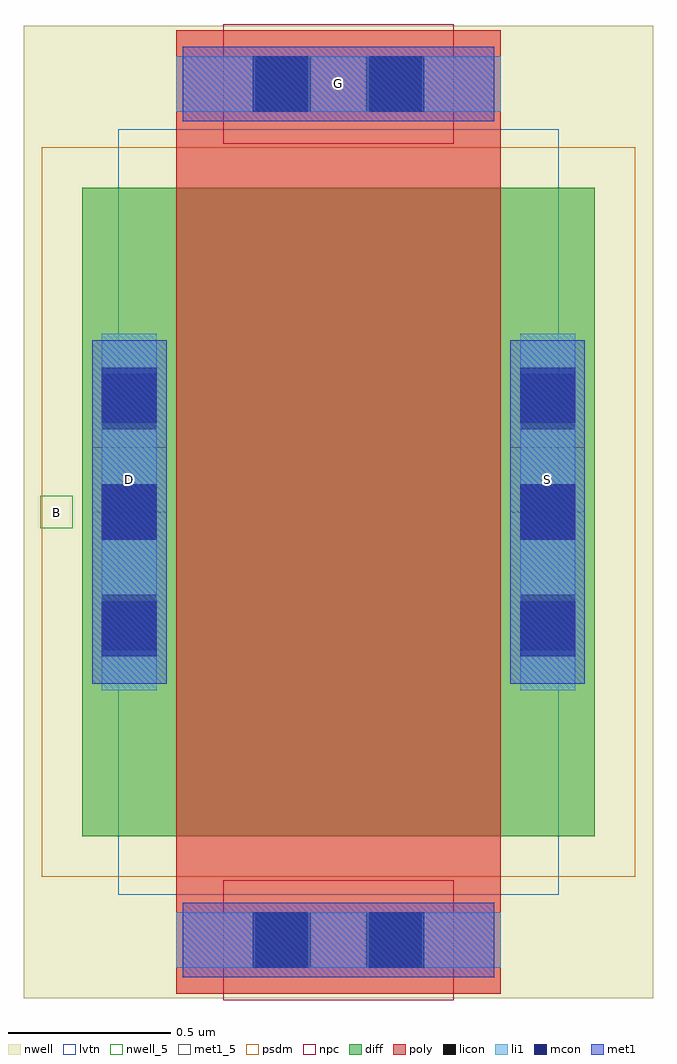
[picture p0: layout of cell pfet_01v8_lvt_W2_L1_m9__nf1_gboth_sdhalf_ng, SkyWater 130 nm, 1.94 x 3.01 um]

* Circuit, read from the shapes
.subckt pfet_01v8_lvt_W2_L1_m9__nf1_gboth_sdhalf_ng B D G S
XM1 S G D B sky130_fd_pr__pfet_01v8_lvt w=2 l=1
.ends

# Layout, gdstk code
import gdstk
lib = gdstk.Library(unit=1e-6, precision=1e-09)
def R(c, l, rs):  # rectangles x0, y0, x1, y1
    for r in rs: c.add(gdstk.rectangle(r[:2], r[2:], *l))
def A(c, l, x, y, w, h, nx, ny, dx, dy):  # array of equal rectangles
    R(c, l, [(x+i*dx, y+j*dy, x+i*dx+w, y+j*dy+h) for i in range(nx) for j in range(ny)])
nwell_5 = (64, 5)
nwell = (64, 20)
diff = (65, 20)
poly = (66, 20)
licon = (66, 44)
li1 = (67, 20)
mcon = (67, 44)
met1_5 = (68, 5)
met1 = (68, 20)
psdm = (94, 20)
npc = (95, 20)
lvtn = (125, 44)

sky130_fd_pr__pfet_01v8_ = lib.new_cell('sky130_fd_pr__pfet_01v8_lvt_7XE4LN')
R(sky130_fd_pr__pfet_01v8_, nwell, [(-0.97,-1.5,0.97,1.5)])
R(sky130_fd_pr__pfet_01v8_, diff, [(-0.79,-1,0.79,1)])
R(sky130_fd_pr__pfet_01v8_, poly, [(-0.5,-1.485,0.5,1.485)])
A(sky130_fd_pr__pfet_01v8_, licon, -0.73, -0.425, 0.17, 0.17, 1, 3, 0, 0.34)
A(sky130_fd_pr__pfet_01v8_, licon, 0.56, -0.425, 0.17, 0.17, 1, 3, 0, 0.34)
R(sky130_fd_pr__pfet_01v8_, licon, [(-0.255,-1.405,-0.085,-1.235), (0.085,-1.405,0.255,-1.235), (-0.255,1.235,-0.085,1.405), (0.085,1.235,0.255,1.405)])
R(sky130_fd_pr__pfet_01v8_, li1, [(-0.5,-1.405,0.5,-1.235), (-0.73,-0.55,-0.56,0.55), (0.56,-0.55,0.73,0.55), (-0.5,1.235,0.5,1.405)])
A(sky130_fd_pr__pfet_01v8_, mcon, -0.73, -0.445, 0.17, 0.17, 1, 3, 0, 0.36)
A(sky130_fd_pr__pfet_01v8_, mcon, 0.56, -0.445, 0.17, 0.17, 1, 3, 0, 0.36)
R(sky130_fd_pr__pfet_01v8_, mcon, [(-0.265,-1.405,-0.095,-1.235), (0.095,-1.405,0.265,-1.235), (-0.265,1.235,-0.095,1.405), (0.095,1.235,0.265,1.405)])
R(sky130_fd_pr__pfet_01v8_, met1, [(-0.48,-1.435,0.48,-1.205), (-0.76,-0.53,-0.53,0.53), (0.53,-0.53,0.76,0.53), (-0.48,1.205,0.48,1.435)])
R(sky130_fd_pr__pfet_01v8_, psdm, [(-0.915,-1.125,0.915,1.125)])
R(sky130_fd_pr__pfet_01v8_, npc, [(-0.355,-1.505,0.355,-1.135), (-0.355,1.135,0.355,1.505)])
R(sky130_fd_pr__pfet_01v8_, lvtn, [(-0.68,-1.18,0.68,1.18)])
sky130_fd_pr__pfet_01v8_.add(gdstk.Label('D', (-0.645,0), layer=67, texttype=5))
sky130_fd_pr__pfet_01v8_.add(gdstk.Label('S', (0.645,0), layer=67, texttype=5))
sky130_fd_pr__pfet_01v8_.add(gdstk.Label('G', (0,1.32), layer=67, texttype=5))

pfet_01v8_lvt_w2_l1_m9__ = lib.new_cell('pfet_01v8_lvt_W2_L1_m9__nf1_gboth_sdhalf_ng')
R(pfet_01v8_lvt_w2_l1_m9__, nwell_5, [(0.05,1.45,0.15,1.55)])
R(pfet_01v8_lvt_w2_l1_m9__, nwell, [(0.05,1.45,0.15,1.55)])
R(pfet_01v8_lvt_w2_l1_m9__, met1_5, [(0.21,1.5,0.44,1.7), (1.5,1.5,1.73,1.7), (0.49,2.705,1.45,2.935)])
R(pfet_01v8_lvt_w2_l1_m9__, met1, [(0.21,1.5,0.44,1.7), (1.5,1.5,1.73,1.7), (0.49,2.705,1.45,2.935)])
pfet_01v8_lvt_w2_l1_m9__.add(gdstk.Reference(sky130_fd_pr__pfet_01v8_, (0.97,1.5)))
pfet_01v8_lvt_w2_l1_m9__.add(gdstk.Label('D', (0.325,1.6), layer=68, texttype=5))
pfet_01v8_lvt_w2_l1_m9__.add(gdstk.Label('S', (1.615,1.6), layer=68, texttype=5))
pfet_01v8_lvt_w2_l1_m9__.add(gdstk.Label('G', (0.97,2.82), layer=68, texttype=5))
pfet_01v8_lvt_w2_l1_m9__.add(gdstk.Label('B', (0.1,1.5), layer=64, texttype=5))

lib.write_gds('pfet_01v8_lvt_W2_L1_m9__nf1_gboth_sdhalf_ng.gds')
